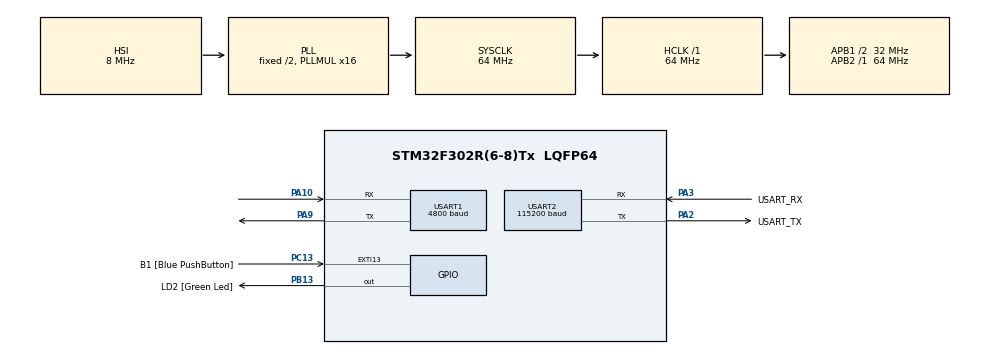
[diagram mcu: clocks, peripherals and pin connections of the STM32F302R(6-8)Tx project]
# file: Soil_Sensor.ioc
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Mcu.Family=STM32F3
Mcu.Name=STM32F302R(6-8)Tx
Mcu.Package=LQFP64
NVIC.PriorityGroup=NVIC_PRIORITYGROUP_0
PA10.Mode=Asynchronous
PA10.Signal=USART1_RX
PA13.GPIO_Label=TMS
PA13.Mode=Serial_Wire
PA13.Signal=SYS_JTMS-SWDIO
PA14.GPIO_Label=TCK
PA14.Mode=Serial_Wire
PA14.Signal=SYS_JTCK-SWCLK
PA2.GPIO_Label=USART_TX
PA2.GPIO_Mode=GPIO_MODE_AF_PP
PA2.GPIO_PuPd=GPIO_NOPULL
PA2.GPIO_Speed=GPIO_SPEED_FREQ_LOW
PA2.Mode=Asynchronous
PA2.Signal=USART2_TX
PA3.GPIO_Label=USART_RX
PA3.GPIO_Mode=GPIO_MODE_AF_PP
PA3.GPIO_PuPd=GPIO_NOPULL
PA3.GPIO_Speed=GPIO_SPEED_FREQ_LOW
PA3.Mode=Asynchronous
PA3.Signal=USART2_RX
PA9.Mode=Asynchronous
PA9.Signal=USART1_TX
PB13.GPIO_Label=LD2 [Green Led]
PB13.Signal=GPIO_Output
PB3.GPIO_Label=SWO
PB3.Mode=Trace_Asynchronous_SW
PB3.Signal=SYS_JTDO-TRACESWO
PC13.GPIO_Label=B1 [Blue PushButton]
PC13.GPIO_ModeDefaultEXTI=GPIO_MODE_IT_FALLING
PC13.Signal=GPXTI13
PC14\ -\ OSC32_IN.Mode=LSE-External-Oscillator
PC14\ -\ OSC32_IN.Signal=RCC_OSC32_IN
PC15\ -\ OSC32_OUT.Mode=LSE-External-Oscillator
PC15\ -\ OSC32_OUT.Signal=RCC_OSC32_OUT
PF0-OSC_IN.Mode=HSE-External-Clock-Source
PF0-OSC_IN.Signal=RCC_OSC_IN
PF1-OSC_OUT.Signal=RCC_OSC_OUT
ProjectManager.HeapSize=0x200
ProjectManager.StackSize=0x400
ProjectManager.TargetToolchain=STM32CubeIDE
RCC.AHBFreq_Value=64000000
RCC.APB1CLKDivider=RCC_HCLK_DIV2
RCC.APB1Freq_Value=32000000
RCC.APB1TimFreq_Value=64000000
RCC.APB2Freq_Value=64000000
RCC.APB2TimFreq_Value=64000000
RCC.CortexFreq_Value=64000000
RCC.HCLKFreq_Value=64000000
RCC.HSE_VALUE=8000000
RCC.HSI_VALUE=8000000
RCC.PLLM=8
RCC.PLLMUL=RCC_PLL_MUL16
RCC.PLLN=336
RCC.PLLP=RCC_PLLP_DIV4
RCC.PLLQ=7
RCC.RCC_PLLsource_Clock_Source_FROM_HSE=RCC_HSE_PREDIV_DIV2
RCC.SYSCLKFreq_VALUE=64000000
RCC.SYSCLKSourceVirtual=RCC_SYSCLKSOURCE_PLLCLK
RCC.USBFreq_Value=64000000
USART1.BaudRate=4800
USART1.VirtualMode-Asynchronous=VM_ASYNC
USART2.BaudRate=115200
USART2.VirtualMode-Asynchronous=VM_ASYNC
board=NUCLEO-F302R8

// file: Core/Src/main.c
/* USER CODE BEGIN Header */
/**
  ******************************************************************************
  * @file           : main.c
  * @brief          : Main program body
  ******************************************************************************
  * @attention
  *
  * Copyright (c) 2026 STMicroelectronics.
  * All rights reserved.
  *
  * This software is licensed under terms that can be found in the LICENSE file
  * in the root directory of this software component.
  * If no LICENSE file comes with this software, it is provided AS-IS.
  *
  ******************************************************************************
  */
/* USER CODE END Header */
#include "main.h"

/* USER CODE BEGIN Includes */
#include <stdio.h>
#include <string.h>
#include "../Inc/SOIL_SENSOR.h"
/* USER CODE END Includes */

/* USER CODE BEGIN PTD */

typedef struct {
    float humidity;
    float temperature;
    uint16_t conductivity;
    float ph;
    uint16_t nitrogen;
    uint16_t phosphorus;
    uint16_t potassium;
    uint16_t salinity;
    uint16_t tds;
} SoilData;

/* USER CODE END PTD */

UART_HandleTypeDef huart1;
UART_HandleTypeDef huart2;

void SystemClock_Config(void);
static void MX_GPIO_Init(void);
static void MX_USART2_UART_Init(void);
static void MX_USART1_UART_Init(void);
/* USER CODE BEGIN PFP */

uint16_t CalculateCRC(uint8_t *buf, int len);
void Read_Soil_Sensor(void);

SoilData currentData;
/* USER CODE END PFP */

int main(void)
{

  /* MCU Configuration--------------------------------------------------------*/

  /* Reset of all peripherals, Initializes the Flash interface and the Systick. */
  HAL_Init();

  /* Configure the system clock */
  SystemClock_Config();

  /* Initialize all configured peripherals */
  MX_GPIO_Init();
  MX_USART2_UART_Init();
  MX_USART1_UART_Init();

  /* Infinite loop */
  /* USER CODE BEGIN WHILE */
  while (1)
  {

	  Soil_Data data;
	  char buf[256];

	  Soil_Status status = Soil_ReadAvg(&huart1, &data);
	  if (status == SOIL_OK) {
	      Soil_FormatData(&data, buf, sizeof(buf));
	      HAL_UART_Transmit(&huart2, (uint8_t*)buf, strlen(buf), 500);
	  } else {
	      snprintf(buf, sizeof(buf), "Error: %s\r\n", Soil_StatusStr(status));
	      HAL_UART_Transmit(&huart2, (uint8_t*)buf, strlen(buf), 100);
	  }

  }
	  /* USER CODE END WHILE */
}

void SystemClock_Config(void)
{
  RCC_OscInitTypeDef RCC_OscInitStruct = {0};
  RCC_ClkInitTypeDef RCC_ClkInitStruct = {0};
  RCC_PeriphCLKInitTypeDef PeriphClkInit = {0};

  /** Initializes the RCC Oscillators according to the specified parameters
  * in the RCC_OscInitTypeDef structure.
  */
  RCC_OscInitStruct.OscillatorType = RCC_OSCILLATORTYPE_HSI;
  RCC_OscInitStruct.HSIState = RCC_HSI_ON;
  RCC_OscInitStruct.HSICalibrationValue = RCC_HSICALIBRATION_DEFAULT;
  RCC_OscInitStruct.PLL.PLLState = RCC_PLL_ON;
  RCC_OscInitStruct.PLL.PLLSource = RCC_PLLSOURCE_HSI;
  RCC_OscInitStruct.PLL.PLLMUL = RCC_PLL_MUL16;
  if (HAL_RCC_OscConfig(&RCC_OscInitStruct) != HAL_OK)
  {
    Error_Handler();
  }

  /** Initializes the CPU, AHB and APB buses clocks
  */
  RCC_ClkInitStruct.ClockType = RCC_CLOCKTYPE_HCLK|RCC_CLOCKTYPE_SYSCLK
                              |RCC_CLOCKTYPE_PCLK1|RCC_CLOCKTYPE_PCLK2;
  RCC_ClkInitStruct.SYSCLKSource = RCC_SYSCLKSOURCE_PLLCLK;
  RCC_ClkInitStruct.AHBCLKDivider = RCC_SYSCLK_DIV1;
  RCC_ClkInitStruct.APB1CLKDivider = RCC_HCLK_DIV2;
  RCC_ClkInitStruct.APB2CLKDivider = RCC_HCLK_DIV1;

  if (HAL_RCC_ClockConfig(&RCC_ClkInitStruct, FLASH_LATENCY_2) != HAL_OK)
  {
    Error_Handler();
  }
  PeriphClkInit.PeriphClockSelection = RCC_PERIPHCLK_USART1;
  PeriphClkInit.Usart1ClockSelection = RCC_USART1CLKSOURCE_PCLK1;
  if (HAL_RCCEx_PeriphCLKConfig(&PeriphClkInit) != HAL_OK)
  {
    Error_Handler();
  }
}

static void MX_USART1_UART_Init(void)
{

  huart1.Instance = USART1;
  huart1.Init.BaudRate = 4800;
  huart1.Init.WordLength = UART_WORDLENGTH_8B;
  huart1.Init.StopBits = UART_STOPBITS_1;
  huart1.Init.Parity = UART_PARITY_NONE;
  huart1.Init.Mode = UART_MODE_TX_RX;
  huart1.Init.HwFlowCtl = UART_HWCONTROL_NONE;
  huart1.Init.OverSampling = UART_OVERSAMPLING_16;
  huart1.Init.OneBitSampling = UART_ONE_BIT_SAMPLE_DISABLE;
  huart1.AdvancedInit.AdvFeatureInit = UART_ADVFEATURE_NO_INIT;
  if (HAL_UART_Init(&huart1) != HAL_OK)
  {
    Error_Handler();
  }

}

static void MX_USART2_UART_Init(void)
{

  huart2.Instance = USART2;
  huart2.Init.BaudRate = 115200;
  huart2.Init.WordLength = UART_WORDLENGTH_8B;
  huart2.Init.StopBits = UART_STOPBITS_1;
  huart2.Init.Parity = UART_PARITY_NONE;
  huart2.Init.Mode = UART_MODE_TX_RX;
  huart2.Init.HwFlowCtl = UART_HWCONTROL_NONE;
  huart2.Init.OverSampling = UART_OVERSAMPLING_16;
  huart2.Init.OneBitSampling = UART_ONE_BIT_SAMPLE_DISABLE;
  huart2.AdvancedInit.AdvFeatureInit = UART_ADVFEATURE_NO_INIT;
  if (HAL_UART_Init(&huart2) != HAL_OK)
  {
    Error_Handler();
  }

}

static void MX_GPIO_Init(void)
{
  GPIO_InitTypeDef GPIO_InitStruct = {0};

  /* GPIO Ports Clock Enable */
  __HAL_RCC_GPIOC_CLK_ENABLE();
  __HAL_RCC_GPIOF_CLK_ENABLE();
  __HAL_RCC_GPIOA_CLK_ENABLE();
  __HAL_RCC_GPIOB_CLK_ENABLE();

  /*Configure GPIO pin Output Level */
  HAL_GPIO_WritePin(LD2_GPIO_Port, LD2_Pin, GPIO_PIN_RESET);

  /*Configure GPIO pin : B1_Pin */
  GPIO_InitStruct.Pin = B1_Pin;
  GPIO_InitStruct.Mode = GPIO_MODE_IT_FALLING;
  GPIO_InitStruct.Pull = GPIO_NOPULL;
  HAL_GPIO_Init(B1_GPIO_Port, &GPIO_InitStruct);

  /*Configure GPIO pin : LD2_Pin */
  GPIO_InitStruct.Pin = LD2_Pin;
  GPIO_InitStruct.Mode = GPIO_MODE_OUTPUT_PP;
  GPIO_InitStruct.Pull = GPIO_NOPULL;
  GPIO_InitStruct.Speed = GPIO_SPEED_FREQ_LOW;
  HAL_GPIO_Init(LD2_GPIO_Port, &GPIO_InitStruct);

}

/* USER CODE BEGIN 4 */

/*uint16_t CalculateCRC(uint8_t *buf, int len) {
    uint16_t crc = 0xFFFF;
    for (int pos = 0; pos < len; pos++) {
        crc ^= (uint16_t)buf[pos];
        for (int i = 8; i != 0; i--) {
            if ((crc & 0x0001) != 0) {
                crc >>= 1;
                crc ^= 0xA001;
            } else {
                crc >>= 1;
            }
        }
    }
    return crc;
}

void Read_Soil_Sensor(void)
{
    uint8_t msg[] = {0x01, 0x03,0x00,0x00,0x00,0x07,0x04,0x08};
    uint16_t crc = CalculateCRC(msg, 6);
    msg[6] = crc & 0xFF;
    msg[7] = (crc >> 8) & 0xFF;

    uint8_t response[19] = {0};
    char buffer[256];

    HAL_StatusTypeDef receiveProblem;

    if (HAL_UART_Transmit(&huart1, msg, 8, 2005) == HAL_OK)
    {
    	receiveProblem = HAL_UART_Receive(&huart1, response, 19, 2500);
        if (receiveProblem == HAL_OK)
        {
        	   uint16_t rawHumidity     = (response[3]  << 8) | response[4];
        	    int16_t  rawTemperature  = (int16_t)((response[5]  << 8) | response[6]);
        	    uint16_t rawConductivity = (response[7]  << 8) | response[8];
        	    uint16_t rawPH           = (response[9]  << 8) | response[10];
        	    uint16_t rawNitrogen     = (response[11] << 8) | response[12];
        	    uint16_t rawPhosphorus   = (response[13] << 8) | response[14];
        	    uint16_t rawPotassium    = (response[15] << 8) | response[16];

        	    // Apply scaling factors from datasheet
        	    float humidity     = rawHumidity     * 0.1f;  // 0.1%RH
        	    float temperature  = rawTemperature  * 0.1f;  // 0.1°C, int16 handles negatives
        	    float conductivity = rawConductivity * 1.0f;  // 1 us/cm
        	    float ph           = rawPH           * 0.1f;  // 0.1
        	    float nitrogen     = rawNitrogen     * 1.0f;  // 1 mg/kg
        	    float phosphorus   = rawPhosphorus   * 1.0f;  // 1 mg/kg
        	    float potassium    = rawPotassium    * 1.0f;  // 1 mg/kg

        	    snprintf(buffer, sizeof(buffer),
        	            "--- Soil Report ---\r\n"
        	            "Humidity:     %.1f %%RH\r\n"
        	            "Temperature:  %.1f C\r\n"
        	            "Conductivity: %.0f us/cm\r\n"
        	            "pH:           %.1f\r\n"
        	            "Nitrogen:     %.0f mg/kg\r\n"
        	            "Phosphorus:   %.0f mg/kg\r\n"
        	            "Potassium:    %.0f mg/kg\r\n"
        	            "\r\n",
        	            humidity, temperature, conductivity,
        	            ph, nitrogen, phosphorus, potassium);

        	    HAL_UART_Transmit(&huart2, (uint8_t*)buffer, strlen(buffer), 500);
        }

        else if(receiveProblem == HAL_ERROR){
                	HAL_UART_Transmit(&huart2, (uint8_t*)"ERROR\r\n", 9, 2500);
        }
        else if(receiveProblem == HAL_BUSY){
                	HAL_UART_Transmit(&huart2, (uint8_t*)"BUSY\r\n", 9, 2500);
        }

        else if(receiveProblem == HAL_TIMEOUT)
        {
            HAL_UART_Transmit(&huart2, (uint8_t*)"Timeout\r\n", 9, 2500);
        }
        else
        {
            HAL_UART_Transmit(&huart2, (uint8_t*)"IDFK\r\n", 9, 2500);
        }
    }
}
*/

/* USER CODE END 4 */

void Error_Handler(void)
{
  __disable_irq();
  while (1)
  {
  }
}
